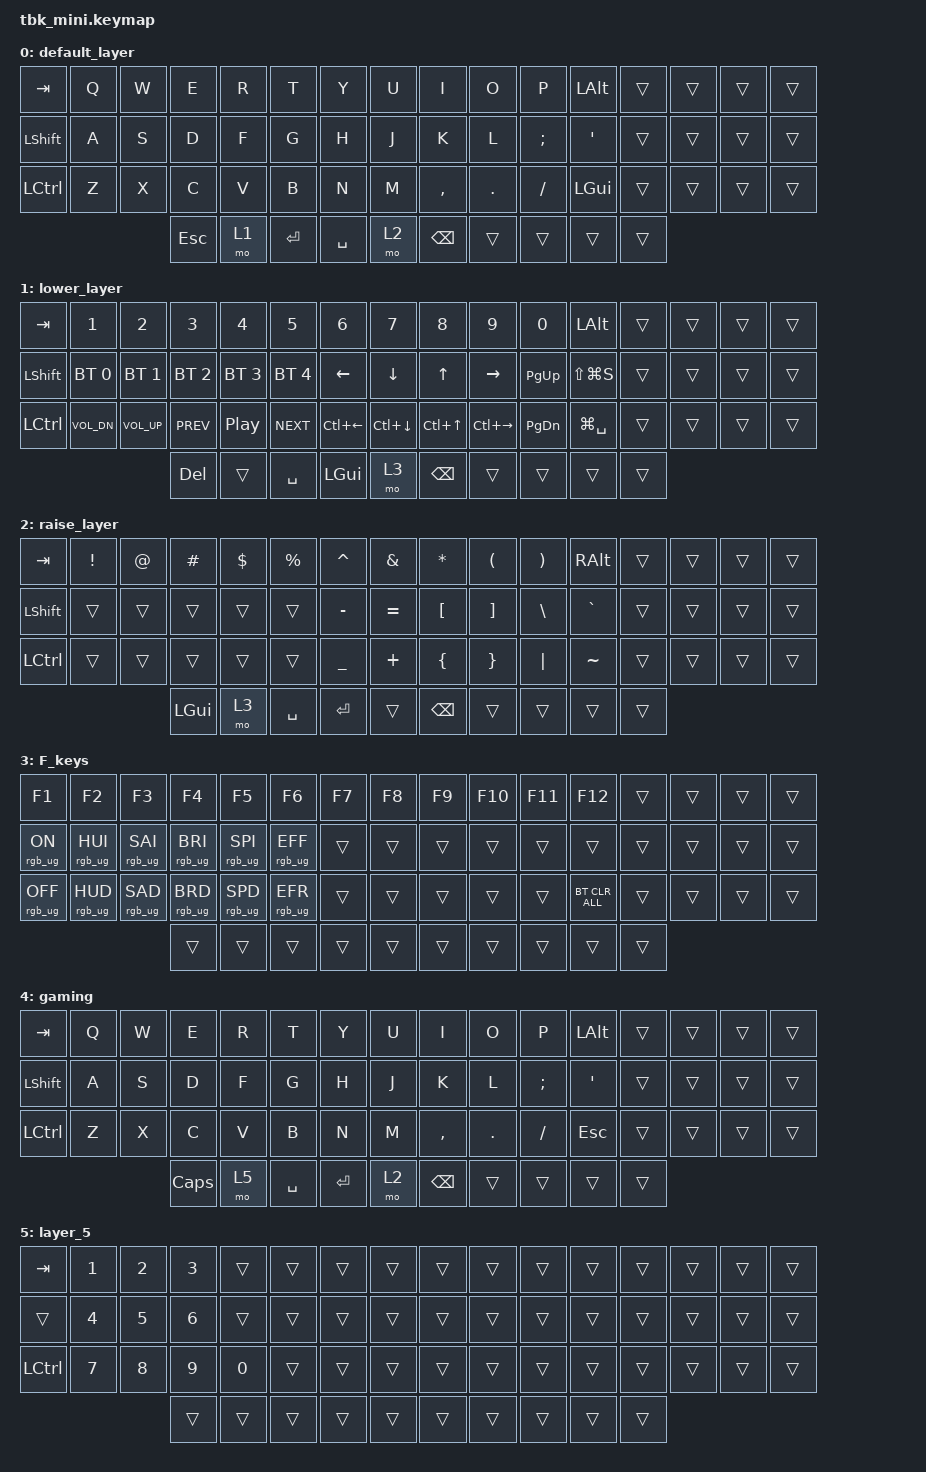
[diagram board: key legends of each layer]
/* Copyright (c) 2020 The ZMK Contributors
 *
 * SPDX-License-Identifier: MIT
 */

#include <behaviors.dtsi>
#include <dt-bindings/zmk/bt.h>
#include <dt-bindings/zmk/keys.h>
#include <dt-bindings/zmk/rgb.h>

&led_strip { chain-length = <27>; };

/ {
    macros {
        screenshot_mac_4: screenshot_mac_4 {
            compatible = "zmk,behavior-macro";
            #binding-cells = <0>;
            bindings = <&none>;
            label = "SCREENSHOT_MAC_4";
        };
    };

    combos {
        compatible = "zmk,combos";

        to_gaming {
            bindings = <&to 4>;
            key-positions = <12 13 14>;
        };

        to_first {
            bindings = <&to 0>;
            key-positions = <24 25 26>;
        };
    };

    keymap {
        compatible = "zmk,keymap";

        default_layer {
            bindings = <
&kp TAB           &kp Q  &kp W  &kp E       &kp R  &kp T      &kp Y      &kp U  &kp I          &kp O    &kp P     &kp LEFT_ALT   &trans &trans &trans &trans
&kp LEFT_SHIFT    &kp A  &kp S  &kp D       &kp F  &kp G      &kp H      &kp J  &kp K          &kp L    &kp SEMI  &kp SQT        &trans &trans &trans &trans
&kp LEFT_CONTROL  &kp Z  &kp X  &kp C       &kp V  &kp B      &kp N      &kp M  &kp COMMA      &kp DOT  &kp FSLH  &kp LEFT_GUI   &trans &trans &trans &trans
                                &kp ESCAPE  &mo 1  &kp RET    &kp SPACE  &mo 2  &kp BACKSPACE  &trans &trans &trans &trans
            >;
        };

        lower_layer {
            bindings = <
&kp TAB           &kp N1        &kp N2           &kp N3        &kp N4            &kp N5          &kp N6        &kp N7              &kp N8            &kp N9         &kp N0         &kp LEFT_ALT   &trans &trans &trans &trans
&kp LEFT_SHIFT    &bt BT_SEL 0  &bt BT_SEL 1     &bt BT_SEL 2  &bt BT_SEL 3      &bt BT_SEL 4    &kp LEFT      &kp DOWN            &kp UP            &kp RIGHT      &kp PAGE_UP    &kp LS(LG(S))  &trans &trans &trans &trans
&kp LEFT_CONTROL  &kp C_VOL_DN  &kp C_VOLUME_UP  &kp C_PREV    &kp C_PLAY_PAUSE  &kp C_NEXT      &kp LC(LEFT)  &kp LC(DOWN_ARROW)  &kp LC(UP_ARROW)  &kp LC(RIGHT)  &kp PAGE_DOWN  &kp LG(SPACE)  &trans &trans &trans &trans
                                                 &kp DEL       &trans            &kp SPACE       &kp LEFT_GUI  &mo 3               &kp BACKSPACE     &trans &trans &trans &trans
            >;
        };

        raise_layer {
            bindings = <
&kp TAB           &kp EXCL  &kp AT  &kp HASH  &kp DLLR  &kp PRCNT    &kp CARET  &kp AMPS   &kp ASTRK      &kp LPAR  &kp RPAR  &kp RIGHT_ALT   &trans &trans &trans &trans
&kp LEFT_SHIFT    &trans    &trans  &trans    &trans    &trans       &kp MINUS  &kp EQUAL  &kp LBKT       &kp RBKT  &kp BSLH  &kp GRAVE       &trans &trans &trans &trans
&kp LEFT_CONTROL  &trans    &trans  &trans    &trans    &trans       &kp UNDER  &kp PLUS   &kp LBRC       &kp RBRC  &kp PIPE  &kp TILDE       &trans &trans &trans &trans
                                    &kp LGUI  &mo 3     &kp SPACE    &kp RET    &trans     &kp BACKSPACE  &trans &trans &trans &trans
            >;
        };

        F_keys {
            bindings = <
&kp F1           &kp F2           &kp F3           &kp F4           &kp F5           &kp F6             &kp F7  &kp F8  &kp F9  &kp F10  &kp F11  &kp F12        &trans &trans &trans &trans
&rgb_ug RGB_ON   &rgb_ug RGB_HUI  &rgb_ug RGB_SAI  &rgb_ug RGB_BRI  &rgb_ug RGB_SPI  &rgb_ug RGB_EFF    &trans  &trans  &trans  &trans   &trans   &trans         &trans &trans &trans &trans
&rgb_ug RGB_OFF  &rgb_ug RGB_HUD  &rgb_ug RGB_SAD  &rgb_ug RGB_BRD  &rgb_ug RGB_SPD  &rgb_ug RGB_EFR    &trans  &trans  &trans  &trans   &trans   &bt BT_CLR_ALL &trans &trans &trans &trans
                                                   &trans           &trans           &trans             &trans  &trans  &trans        &trans &trans &trans &trans
            >;
        };

        gaming {
            bindings = <
&kp TAB           &kp Q  &kp W  &kp E         &kp R  &kp T        &kp Y    &kp U  &kp I          &kp O    &kp P     &kp LEFT_ALT   &trans &trans &trans &trans
&kp LEFT_SHIFT    &kp A  &kp S  &kp D         &kp F  &kp G        &kp H    &kp J  &kp K          &kp L    &kp SEMI  &kp SQT        &trans &trans &trans &trans
&kp LEFT_CONTROL  &kp Z  &kp X  &kp C         &kp V  &kp B        &kp N    &kp M  &kp COMMA      &kp DOT  &kp FSLH  &kp ESCAPE     &trans &trans &trans &trans
                                &kp CAPSLOCK  &mo 5  &kp SPACE    &kp RET  &mo 2  &kp BACKSPACE  &trans &trans &trans &trans
            >;
        };

        layer_5 {
            bindings = <
&kp TAB           &kp NUMBER_1  &kp NUMBER_2  &kp NUMBER_3  &trans  &trans    &trans  &trans  &trans  &trans  &trans  &trans        &trans &trans &trans &trans
&trans            &kp NUMBER_4  &kp N5        &kp NUMBER_6  &trans  &trans    &trans  &trans  &trans  &trans  &trans  &trans        &trans &trans &trans &trans
&kp LEFT_CONTROL  &kp N7        &kp N8        &kp N9        &kp N0  &trans    &trans  &trans  &trans  &trans  &trans  &trans        &trans &trans &trans &trans
                                              &trans        &trans  &trans    &trans  &trans  &trans        &trans &trans &trans &trans
            >;
        };
    };
};
